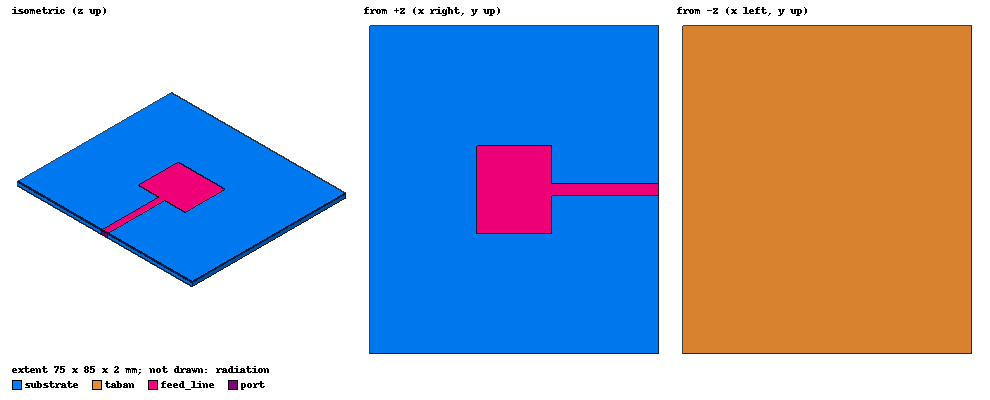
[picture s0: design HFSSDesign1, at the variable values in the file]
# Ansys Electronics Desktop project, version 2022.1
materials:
  vacuum: permittivity=1
  FR4_epoxy: permittivity=4.4 dielectric_loss_tangent=0.02

design HFSSDesign1 (HFSS, DrivenModal, model units mm)
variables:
  taban_boy = 75mm
  taba_en = 85mm
  h = 2mm
  patch_boy = 19.5mm
  patch_en = 23mm
  tra_en = 3mm
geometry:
  taban = rectangle(corner=(-taban_boy/2, -taba_en/2, 0mm), x_size=taban_boy, y_size=taba_en)
  substrate [FR4_epoxy] = box(corner=(-taban_boy/2, -taba_en/2, 0mm), size=(taban_boy, taba_en, h))
  patch = rectangle(corner=(-patch_boy/2, -patch_en/2, h), x_size=patch_boy, y_size=patch_en)
  feed_line = rectangle(corner=(patch_boy/2, -tra_en/2, h), x_size=(taban_boy-patch_boy)/2, y_size=tra_en)
  feed_line.unite(patch)
  radiation [vacuum] = box(corner=(-75mm, -75mm, -10mm), size=(150mm, 150mm, 20mm))
  port = rectangle(corner=(taban_boy/2, -tra_en/2, h), y_size=tra_en, z_size=-h)
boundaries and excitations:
  PerfE1: Perfect E Objects=feed_line
  PerfE2: Perfect E Objects=taban
  Rad1: Radiation Objects=radiation
  1: Lumped Port Objects=port Modes{Mode1{IntLine{(37.5, 0, 0) -> (37.5, 0, 2)} CharImp=Zpi RenormImp=50ohm}} Impedance=50ohm
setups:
  Setup1: HfssDriven Frequency=3.6GHz MaxDeltaS=0.02 MaximumPasses=6 MinimumPasses=1 MinimumConvergedPasses=1 PercentRefinement=30 BasisOrder=1 PortAccuracy=2 DrivenSolverType="Direct Solver"
    sweep Sweep: 1.8GHz to 10GHz step 0.01GHz; Type=Interpolating InterpTolerance=0.5 InterpMaxSolns=250 InterpUsePortImped=false PassivityErrorTolerance=0.0001
    sweep Sweep1: point 3.45GHz; SaveSingleField Type=Discrete
    sweep Sweep2: point 5.76GHz; SaveSingleField Type=Discrete
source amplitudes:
  1:1: 1W 0deg
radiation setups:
  ff_2d: Infinite Sphere Theta=-180deg..180deg step 2deg Phi=0deg..90deg step 90deg
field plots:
  Vector_Jsurf1: Jsurf over feed_line.face(at (23.625, 0, 2)) on Setup1 : Sweep1 at Freq=3.45GHz Phase=0deg
  Vector_Jsurf2: Jsurf over feed_line.face(at (23.625, 0, 2)) on Setup1 : Sweep2 at Freq=5.76GHz Phase=0deg
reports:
  S Parameter Plot 1: dB(S(1,1)) vs Freq on Setup1 : Sweep; markers m1 at 3.45GHz, m2 at 5.76GHz
  Gain Plot 1: dB(GainTotal) vs Theta on Setup1 : Sweep1, ff_2d [Phi=all Freq=3.45GHz]
  Gain Plot 2: dB(GainTotal) vs Theta on Setup1 : Sweep1, ff_2d [Phi=all Freq=3.45GHz]
  Gain Plot 3: dB(GainTotal) vs Theta on Setup1 : Sweep2, ff_2d [Phi=all Freq=5.76GHz]
